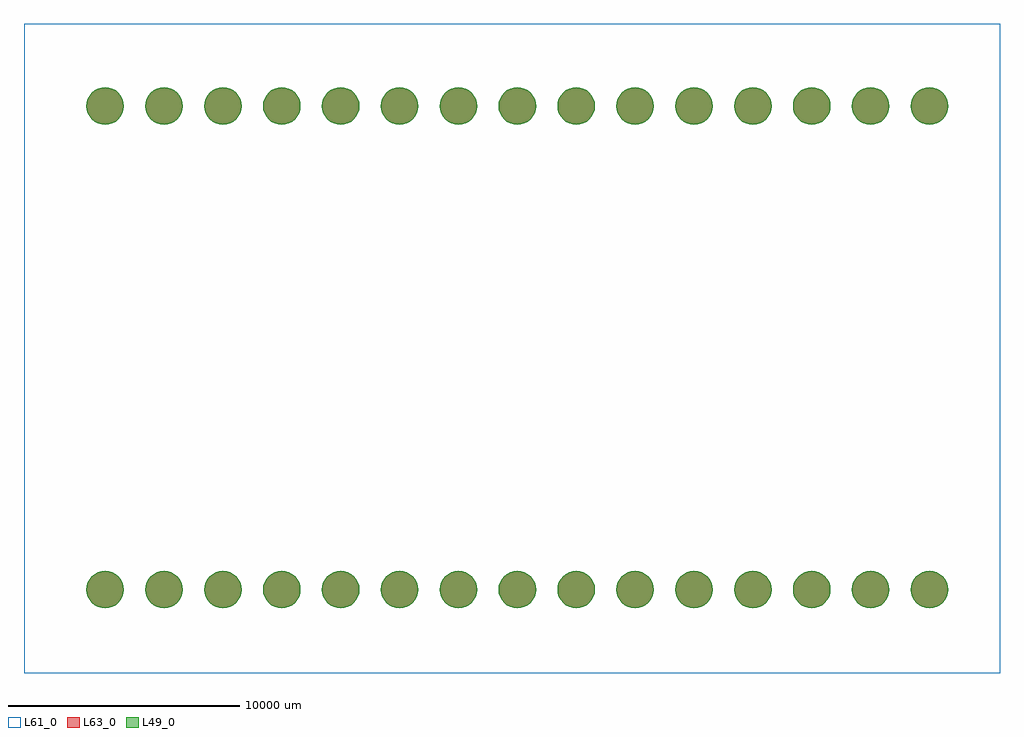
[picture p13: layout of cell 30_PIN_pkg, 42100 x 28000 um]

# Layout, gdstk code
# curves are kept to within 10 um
import gdstk
lib = gdstk.Library(unit=1e-6, precision=1e-09)
def R(c, l, rs):  # rectangles x0, y0, x1, y1
    for r in rs: c.add(gdstk.rectangle(r[:2], r[2:], *l))
def P(c, l, *ps):  # polygons
    for p in ps: c.add(gdstk.Polygon(p, *l))
L49_0 = (49, 0)
L61_0 = (61, 0)
L63_0 = (63, 0)

header_pin_round = lib.new_cell('Header_Pin_Round')
P(header_pin_round, L49_0, [(806,0),(791,157),(745,308),(670,448),(570,570),(448,670),(308,745),(157,791),(0,806),(-157,791),(-308,745),(-448,670),(-570,570),(-670,448),(-745,308),(-791,157),(-806,0),(-791,-157),(-745,-308),(-670,-448),(-570,-570),(-448,-670),(-308,-745),(-157,-791),(0,-806),(157,-791),(308,-745),(448,-670),(570,-570),(670,-448),(745,-308),(791,-157)])
P(header_pin_round, L63_0, [(316,0),(292,121),(223,223),(121,292),(0,316),(-121,292),(-223,223),(-292,121),(-316,0),(-292,-121),(-223,-223),(-121,-292),(0,-316),(121,-292),(223,-223),(292,-121)],
  [(806,0),(791,157),(745,308),(670,448),(570,570),(448,670),(308,745),(157,791),(0,806),(-157,791),(-308,745),(-448,670),(-570,570),(-670,448),(-745,308),(-791,157),(-806,0),(-791,-157),(-745,-308),(-670,-448),(-570,-570),(-448,-670),(-308,-745),(-157,-791),(0,-806),(157,-791),(308,-745),(448,-670),(570,-570),(670,-448),(745,-308),(791,-157)])

c_30_pin_pkg = lib.new_cell('30_PIN_pkg')
R(c_30_pin_pkg, L61_0, [(-3400,-3400,38700,24600), (-2100,-1700,37600,22900)])
c_30_pin_pkg.add(gdstk.Reference(header_pin_round, (100,200)))
c_30_pin_pkg.add(gdstk.Reference(header_pin_round, (2640,200)))
c_30_pin_pkg.add(gdstk.Reference(header_pin_round, (5180,200)))
c_30_pin_pkg.add(gdstk.Reference(header_pin_round, (7720,200)))
c_30_pin_pkg.add(gdstk.Reference(header_pin_round, (10260,200)))
c_30_pin_pkg.add(gdstk.Reference(header_pin_round, (12800,200)))
c_30_pin_pkg.add(gdstk.Reference(header_pin_round, (15340,200)))
c_30_pin_pkg.add(gdstk.Reference(header_pin_round, (17880,200)))
c_30_pin_pkg.add(gdstk.Reference(header_pin_round, (20420,200)))
c_30_pin_pkg.add(gdstk.Reference(header_pin_round, (22960,200)))
c_30_pin_pkg.add(gdstk.Reference(header_pin_round, (25500,200)))
c_30_pin_pkg.add(gdstk.Reference(header_pin_round, (28040,200)))
c_30_pin_pkg.add(gdstk.Reference(header_pin_round, (30580,200)))
c_30_pin_pkg.add(gdstk.Reference(header_pin_round, (33120,200)))
c_30_pin_pkg.add(gdstk.Reference(header_pin_round, (35660,200)))
c_30_pin_pkg.add(gdstk.Reference(header_pin_round, (35660,21060)))
c_30_pin_pkg.add(gdstk.Reference(header_pin_round, (33120,21060)))
c_30_pin_pkg.add(gdstk.Reference(header_pin_round, (30580,21060)))
c_30_pin_pkg.add(gdstk.Reference(header_pin_round, (28040,21060)))
c_30_pin_pkg.add(gdstk.Reference(header_pin_round, (25500,21060)))
c_30_pin_pkg.add(gdstk.Reference(header_pin_round, (22960,21060)))
c_30_pin_pkg.add(gdstk.Reference(header_pin_round, (20420,21060)))
c_30_pin_pkg.add(gdstk.Reference(header_pin_round, (17880,21060)))
c_30_pin_pkg.add(gdstk.Reference(header_pin_round, (15340,21060)))
c_30_pin_pkg.add(gdstk.Reference(header_pin_round, (12800,21060)))
c_30_pin_pkg.add(gdstk.Reference(header_pin_round, (10260,21060)))
c_30_pin_pkg.add(gdstk.Reference(header_pin_round, (7720,21060)))
c_30_pin_pkg.add(gdstk.Reference(header_pin_round, (5180,21060)))
c_30_pin_pkg.add(gdstk.Reference(header_pin_round, (2640,21060)))
c_30_pin_pkg.add(gdstk.Reference(header_pin_round, (100,21060)))

lib.write_gds('30_PIN_pkg.gds')
